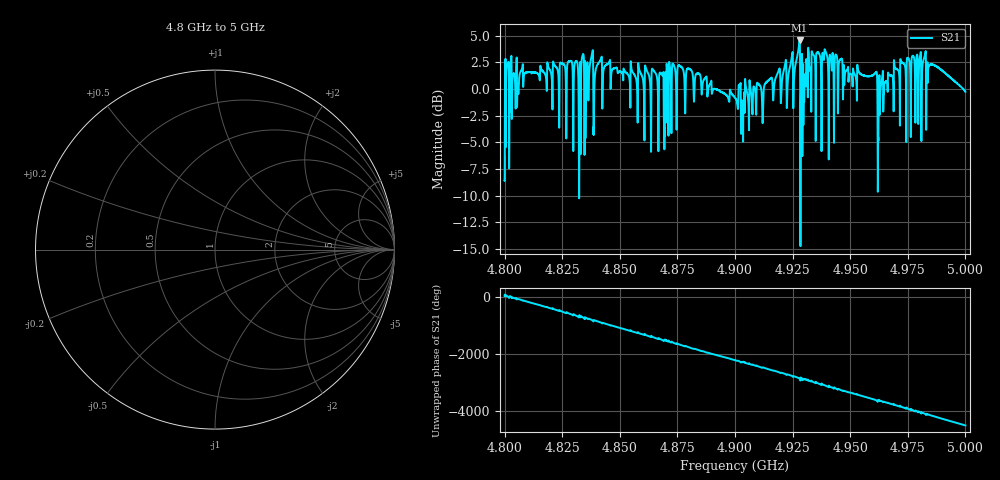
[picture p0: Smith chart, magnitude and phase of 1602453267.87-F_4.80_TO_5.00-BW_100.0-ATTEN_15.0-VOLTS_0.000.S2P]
!Keysight Technologies,E5063A,MY54502693,A.05.04
!Date: Mon Oct 12 06:56:05 2020
!Data & Calibration Information:
!Freq	S11:NONE(--)	S21:NONE(--)	S12:NONE(--)	S22:NONE(--)
# Hz S RI R 50
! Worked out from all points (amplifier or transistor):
!   10000 points, 4.8 GHz to 5 GHz, reference 50 ohm
!   highest |S21| = 4.5 dB at 4.9281 GHz (marker M1)
!   |S21| within 3 dB of that: 4.983752 GHz to 4.990841 GHz (7.089 MHz wide, 0.142 % of centre) (the widest 1 of 70)
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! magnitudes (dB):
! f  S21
! 4.8 GHz  -8.6
! 4.8011 GHz  2.2
! 4.8333 GHz  2.4
! 4.8356 GHz  1.9
! 4.8375 GHz  2.8
! 4.8394 GHz  1.7
! 4.8413 GHz  2.6
! 4.8667 GHz  -3.1
! 4.8702 GHz  -0.1
! 4.8761 GHz  2.2
! 4.9 GHz  -0.8
! 4.9033 GHz  -2.9
! 4.9272 GHz  3.3
! 4.9281 GHz  4.5
! 4.9293 GHz  -3.6
! 4.9312 GHz  2.4
! 4.9334 GHz  3.5
! 4.9607 GHz  1.4
! 4.9627 GHz  0.7
! 4.9667 GHz  1.4
! 4.9857 GHz  2.3
! 5 GHz  -0.3
